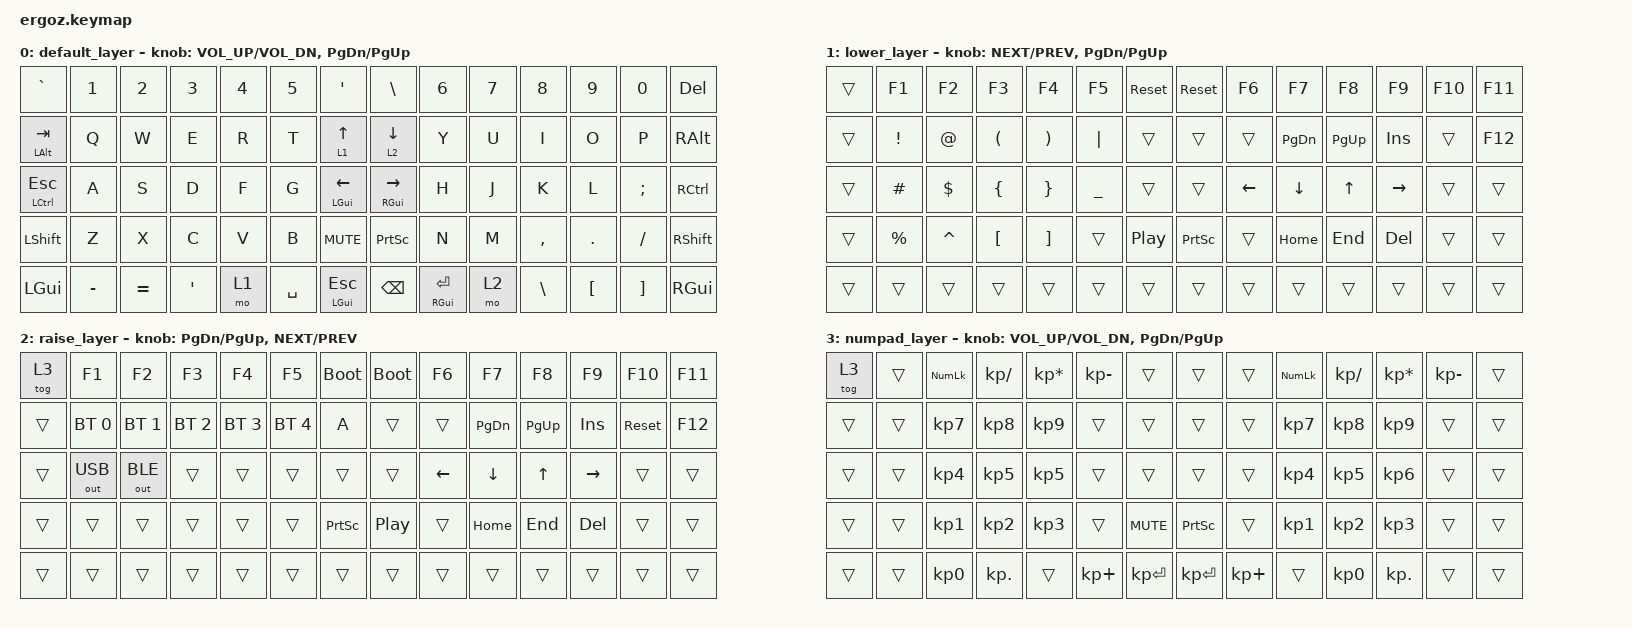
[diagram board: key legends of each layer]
/*
 * Copyright (c) 2020 The ZMK Contributors
 *
 * SPDX-License-Identifier: MIT
 */

#include <behaviors.dtsi>
#include <dt-bindings/zmk/bt.h>
#include <dt-bindings/zmk/keys.h>
#include <dt-bindings/zmk/outputs.h>

/ {
    keymap {
        compatible = "zmk,keymap";

        default_layer {
            bindings = <
&kp GRAVE      &kp N1     &kp N2     &kp N3            &kp N4  &kp N5     &kp SINGLE_QUOTE  &kp BACKSLASH   &kp N6          &kp N7  &kp N8     &kp N9    &kp N0     &kp DEL
&mt LALT TAB   &kp Q      &kp W      &kp E             &kp R   &kp T      &lt 1 UP          &lt 2 DOWN      &kp Y           &kp U   &kp I      &kp O     &kp P      &kp RALT
&mt LCTRL ESC  &kp A      &kp S      &kp D             &kp F   &kp G      &mt LGUI LEFT     &mt RGUI RIGHT  &kp H           &kp J   &kp K      &kp L     &kp SEMI   &kp RCTRL
&kp LSHFT      &kp Z      &kp X      &kp C             &kp V   &kp B      &kp C_MUTE        &kp PSCRN       &kp N           &kp M   &kp COMMA  &kp DOT   &kp SLASH  &kp RSHIFT
&kp LGUI       &kp MINUS  &kp EQUAL  &kp SINGLE_QUOTE  &mo 1   &kp SPACE  &mt LGUI ESC      &kp BACKSPACE   &mt RGUI ENTER  &mo 2   &kp BSLH   &kp LBKT  &kp RBKT   &kp RGUI
            >;

            sensor-bindings = <&inc_dec_kp C_VOL_UP C_VOL_DN &inc_dec_kp PG_DN PAGE_UP>;
        };

        lower_layer {
            bindings = <
&trans  &kp F1     &kp F2      &kp F3            &kp F4                 &kp F5          &sys_reset  &sys_reset       &kp F6    &kp F7     &kp F8     &kp F9     &kp F10  &kp F11
&trans  &kp EXCL   &kp AT      &kp LPAR          &kp RIGHT_PARENTHESIS  &kp PIPE        &trans      &trans           &trans    &kp PG_DN  &kp PG_UP  &kp INS    &trans   &kp F12
&trans  &kp HASH   &kp DOLLAR  &kp LEFT_BRACE    &kp RIGHT_BRACE        &kp UNDERSCORE  &trans      &trans           &kp LEFT  &kp DOWN   &kp UP     &kp RIGHT  &trans   &trans
&trans  &kp PRCNT  &kp CARET   &kp LEFT_BRACKET  &kp RIGHT_BRACKET      &trans          &kp C_PP    &kp PRINTSCREEN  &trans    &kp HOME   &kp END    &kp DEL    &trans   &trans
&trans  &trans     &trans      &trans            &trans                 &trans          &trans      &trans           &trans    &trans     &trans     &trans     &trans   &trans
            >;

            sensor-bindings = <&inc_dec_kp C_NEXT C_PREV &inc_dec_kp PG_DN PG_UP>;
        };

        raise_layer {
            bindings = <
&tog 3  &kp F1        &kp F2        &kp F3        &kp F4        &kp F5        &bootloader      &bootloader  &kp F6    &kp F7     &kp F8     &kp F9     &kp F10     &kp F11
&trans  &bt BT_SEL 0  &bt BT_SEL 1  &bt BT_SEL 2  &bt BT_SEL 3  &bt BT_SEL 4  &kp A            &trans       &trans    &kp PG_DN  &kp PG_UP  &kp INS    &sys_reset  &kp F12
&trans  &out OUT_USB  &out OUT_BLE  &trans        &trans        &trans        &trans           &trans       &kp LEFT  &kp DOWN   &kp UP     &kp RIGHT  &trans      &trans
&trans  &trans        &trans        &trans        &trans        &trans        &kp PRINTSCREEN  &kp C_PP     &trans    &kp HOME   &kp END    &kp DEL    &trans      &trans
&trans  &trans        &trans        &trans        &trans        &trans        &trans           &trans       &trans    &trans     &trans     &trans     &trans      &trans
            >;

            sensor-bindings = <&inc_dec_kp PG_DN PG_UP &inc_dec_kp C_NEXT C_PREV>;
        };

        numpad_layer {
            bindings = <
&tog 3  &trans  &kp KP_NUMLOCK  &kp KP_DIVIDE  &kp KP_MULTIPLY  &kp KP_MINUS  &trans        &trans           &trans       &kp KP_NUMLOCK  &kp KP_SLASH  &kp KP_MULTIPLY  &kp KP_MINUS  &trans
&trans  &trans  &kp KP_N7       &kp KP_N8      &kp KP_N9        &trans        &trans        &trans           &trans       &kp KP_N7       &kp KP_N8     &kp KP_N9        &trans        &trans
&trans  &trans  &kp KP_N4       &kp KP_N5      &kp KP_N5        &trans        &trans        &trans           &trans       &kp KP_N4       &kp KP_N5     &kp KP_N6        &trans        &trans
&trans  &trans  &kp KP_N1       &kp KP_N2      &kp KP_N3        &trans        &kp C_MUTE    &kp PRINTSCREEN  &trans       &kp KP_N1       &kp KP_N2     &kp KP_N3        &trans        &trans
&trans  &trans  &kp KP_N0       &kp KP_DOT     &trans           &kp KP_PLUS   &kp KP_ENTER  &kp KP_ENTER     &kp KP_PLUS  &trans          &kp KP_N0     &kp KP_DOT       &trans        &trans
            >;

            sensor-bindings = <&inc_dec_kp C_VOL_UP C_VOL_DN &inc_dec_kp PG_DN PG_UP>;
        };
    };
};
